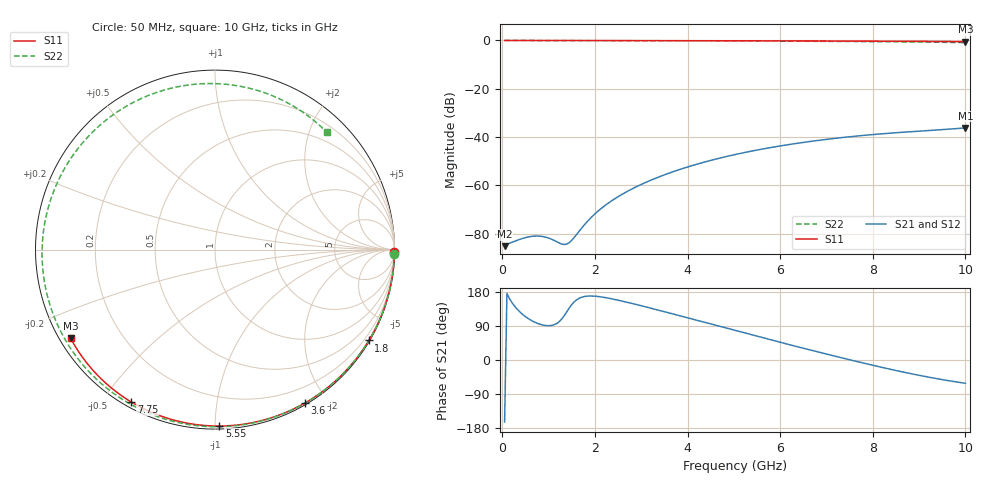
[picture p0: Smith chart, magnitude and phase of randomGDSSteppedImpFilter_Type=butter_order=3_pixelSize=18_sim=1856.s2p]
! freq	dB(S11)	phase(S11)	dB(S12)	phase(S12)
!  dB(S21)	phase(S21)	dB(S22)	phase(S22)
!S-par simulation data
#  GHz  S  DB  R 50
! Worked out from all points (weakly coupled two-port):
!   200 points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, 50 MHz to 10 GHz, reference 50 ohm
!   highest |S21| = -36.17 dB at 10 GHz (marker M1); lowest = -85.1 dB at 50 MHz (marker M2)
!   lowest |S11| = -0.5 dB at 10 GHz (marker M3), VSWR 34.67, Z = 1.56 - j14.1 ohm
!   |S11| at or under -10 dB: nowhere
!   |S22| runs from -0.9 to 0.0 dB; largest |S21 - S12| = 0
!   S11 on the Smith chart (normalised r, x): 50 MHz: open; 1.8 GHz: 0.03, -3.66; 3.6 GHz: 0.02, -1.75; 5.55 GHz: 0.02, -1.02; 7.75 GHz: 0.02, -0.59; 10 GHz: 0.03, -0.28
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0.05  -0.00 -0.9  -85.13 -163.6  -85.13 -163.6  -0.00 -1.5
0.8  -0.01 -13.7  -80.97 94.9  -80.97 94.9  -0.03 -24.3
1.6  -0.03 -27.2  -80.38 158.4  -80.38 158.4  -0.06 -47.8
1.75  -0.04 -29.7  -76.78 166.9  -76.78 166.9  -0.07 -52.2
1.8  -0.04 -30.6  -75.67 168.1  -75.67 168.1  -0.07 -53.6
2.1  -0.05 -35.5  -70.09 167.1  -70.09 167.1  -0.08 -62.1
2.45  -0.05 -41.2  -65.25 159.2  -65.25 159.2  -0.09 -71.9
2.9  -0.06 -48.5  -60.49 146.2  -60.49 146.2  -0.11 -84.2
3.4  -0.08 -56.4  -56.35 130.7  -56.35 130.7  -0.12 -97.5
3.6  -0.08 -59.5  -54.92 124.3  -54.92 124.3  -0.13 -102.8
4.3  -0.10 -70.3  -50.67 101.6  -50.67 101.6  -0.16 -120.9
5.05  -0.13 -81.4  -47.11 77.2  -47.11 77.2  -0.21 -140.1
5.55  -0.15 -88.6  -45.17 61.0  -45.17 61.0  -0.24 -153.0
6.15  -0.17 -97.1  -43.19 42.0  -43.19 42.0  -0.29 -169.0
6.7  -0.20 -104.6  -41.66 24.9  -41.66 24.9  -0.34 175.7
7.25  -0.24 -112.1  -40.36 8.1  -40.36 8.1  -0.40 159.3
7.75  -0.28 -118.8  -39.37 -6.7  -39.37 -6.7  -0.46 143.2
8.35  -0.33 -126.7  -38.40 -23.7  -38.40 -23.7  -0.55 121.7
8.85  -0.37 -133.3  -37.72 -36.8  -37.72 -36.8  -0.63 101.5
9.25  -0.41 -138.5  -37.22 -46.3  -37.22 -46.3  -0.71 83.7
9.6  -0.45 -143.1  -36.77 -53.8  -36.77 -53.8  -0.78 66.9
10  -0.50 -148.4  -36.17 -61.5  -36.17 -61.5  -0.89 46.4
